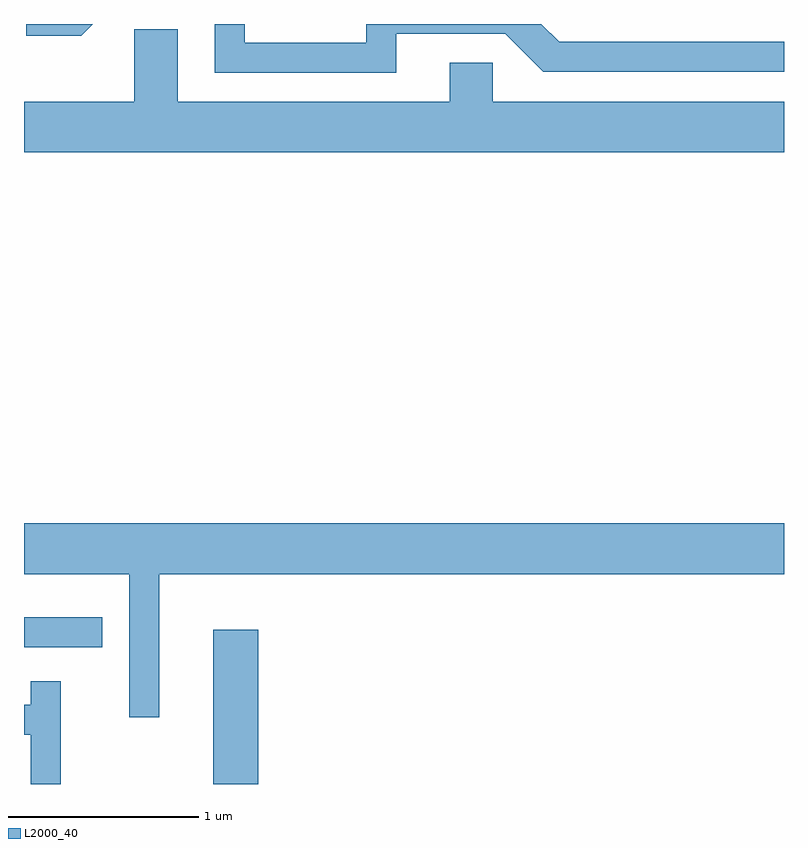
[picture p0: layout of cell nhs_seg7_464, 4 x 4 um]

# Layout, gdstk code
import gdstk
lib = gdstk.Library(unit=1e-6, precision=1e-09)
def R(c, l, rs):  # rectangles x0, y0, x1, y1
    for r in rs: c.add(gdstk.rectangle(r[:2], r[2:], *l))
def P(c, l, *ps):  # polygons
    for p in ps: c.add(gdstk.Polygon(p, *l))
L2000_40 = (2000, 40)

nhs_seg7_464 = lib.new_cell('nhs_seg7_464')
R(nhs_seg7_464, L2000_40, [(198.606,1784.252,198.844,1785.064), (197.611,1784.971,198.023,1785.129)])
P(nhs_seg7_464, L2000_40, [(197.973,1788.252),(197.623,1788.252),(197.623,1788.191),(197.912,1788.191)],
  [(199.569,1788.201),(200.144,1788.201),(200.344,1788.001),(201.611,1788.001),(201.611,1788.159),(200.427,1788.159),(200.334,1788.252),(199.411,1788.252),(199.411,1788.154),(198.774,1788.154),(198.774,1788.252),(198.616,1788.252),(198.616,1787.996),(199.569,1787.996)],
  [(201.611,1787.844),(200.079,1787.844),(200.079,1788.049),(199.851,1788.049),(199.851,1787.844),(198.419,1787.844),(198.419,1788.224),(198.191,1788.224),(198.191,1787.844),(197.611,1787.844),(197.611,1787.576),(201.611,1787.576)],
  [(198.324,1785.356),(201.611,1785.356),(201.611,1785.624),(197.611,1785.624),(197.611,1785.356),(198.166,1785.356),(198.166,1784.603),(198.324,1784.603)],
  [(197.804,1784.793),(197.646,1784.793),(197.646,1784.669),(197.611,1784.669),(197.611,1784.511),(197.646,1784.511),(197.646,1784.252),(197.804,1784.252)])

lib.write_gds('nhs_seg7_464.gds')
